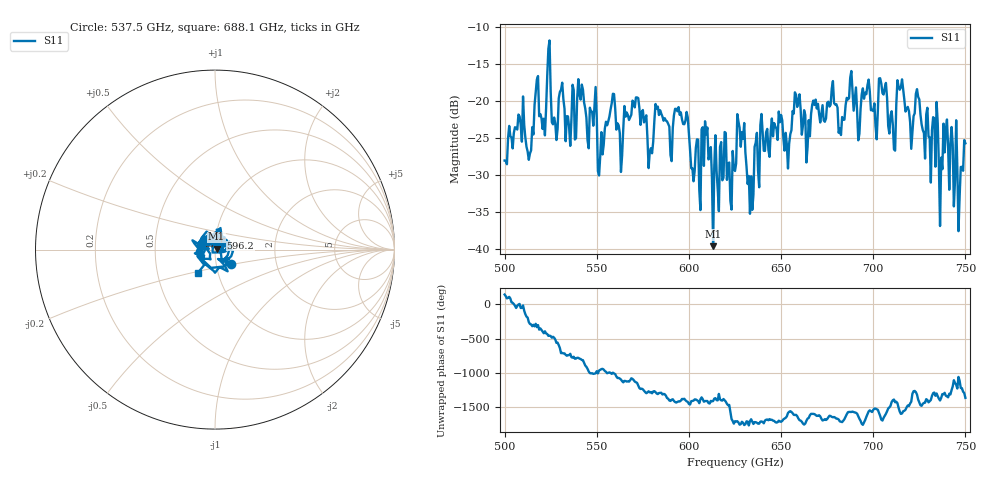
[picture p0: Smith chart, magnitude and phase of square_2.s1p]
!Created with skrf (http://scikit-rf.org).
# GHz S MA R 50.0
!freq magS11 angS11
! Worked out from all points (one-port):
!   401 points, 500 GHz to 750 GHz, reference 50 ohm
!   lowest |S11| = -39.6 dB at 613.1 GHz (marker M1), VSWR 1.02, Z = 50.9 + j0.577 ohm
!   |S11| at or under -10 dB: start of sweep to end of sweep
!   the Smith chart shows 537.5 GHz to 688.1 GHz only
!   S11 on the Smith chart (normalised r, x): 537.5 GHz: 1.17, -0.19; 596.2 GHz: 1.06, +0.14; 688.1 GHz: 0.80, -0.21
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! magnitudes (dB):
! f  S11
! 500 GHz  -28.0
! 508.8 GHz  -23.2
! 513.1 GHz  -27.9
! 523.8 GHz  -13.0
! 526.9 GHz  -22.2
! 531.2 GHz  -17.6
! 537.5 GHz  -18.6
! 548.8 GHz  -20.8
! 551.9 GHz  -27.5
! 558.8 GHz  -19.0
! 562.5 GHz  -24.4
! 570.6 GHz  -20.9
! 579.4 GHz  -26.4
! 583.1 GHz  -20.8
! 593.8 GHz  -21.4
! 596.2 GHz  -22.5
! 613.1 GHz  -39.6
! 625 GHz  -29.5
! 628.8 GHz  -24.2
! 633.8 GHz  -30.2
! 640 GHz  -24.2
! 656.2 GHz  -21.4
! 682.5 GHz  -24.6
! 687.5 GHz  -16.9
! 688.1 GHz  -16.0
! 718.8 GHz  -20.8
! 746.9 GHz  -32.9
! 750 GHz  -25.7
